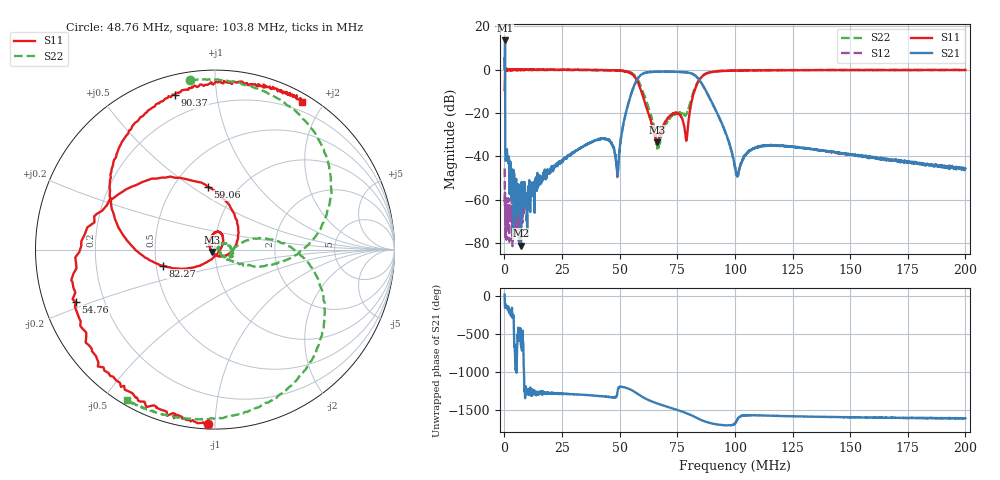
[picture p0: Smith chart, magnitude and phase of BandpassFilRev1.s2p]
! 19-Feb-26 1:12:34 PM
! E:\VNA_MEASUREMENTS\RECBLOCK\BANDPASSFILREV1.S2P
! CHANNEL.1
! TR.MEASUREMENT
! CORRECTED.DATA
# GHZ S RI R 50.0
! FREQ.GHZ  S11RE  S11IM  S21RE  S21IM  S12RE  S12IM  S22RE  S22IM
!; PortSelection: Port_12
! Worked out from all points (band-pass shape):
!   2000 points, 50 kHz to 200 MHz, reference 50 ohm
!   highest |S21| = 13.52 dB at 250 kHz (marker M1); lowest = -81.1 dB at 7.152 MHz (marker M2)
!   |S21| within 3 dB of the highest: 227.7 kHz to 255.9 kHz (28.13 kHz wide, 11.6 % of centre)
!   lowest |S11| = -33.5 dB at 66.17 MHz (marker M3), VSWR 1.04, Z = 48.4 - j1.31 ohm
!   |S11| at or under -10 dB: 59.35 MHz to 82.34 MHz (22.99 MHz wide, 32.5 % of centre)
!   |S22| runs from -36.4 to 0.1 dB; largest |S21 - S12| = 4.7
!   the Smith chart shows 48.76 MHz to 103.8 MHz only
!   S11 on the Smith chart (normalised r, x): 48.76 MHz: 0.03, -0.96; 54.76 MHz: 0.10, -0.18; 59.06 MHz: 0.73, +0.58; 82.27 MHz: 0.54, -0.11; 90.37 MHz: 0.09, +0.77; 103.8 MHz: 0.09, +1.74
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5e-05  0.1792 0.2916  1.703 0.6553  -0.000763 -0.00523  -0.9739 -0.0128
0.00025005  0.8881 -0.0539  -4.226 -2.149  -0.000199 0.00145  -0.9957 0.00473
0.001150275  0.9427 -0.1012  -0.00782 -0.00799  0.000465 0.00059  -0.994 0.017
0.001350325  0.9633 0.00452  -0.00811 -0.000543  0.000272 0.000413  -0.9986 0.0201
0.007151776  1.01 -0.0942  2.79e-05 8.36e-05  -0.00066 0.00027  -0.9882 0.1151
0.03345835  0.7766 -0.6308  -0.0122 0.0109  -0.012 0.0106  -0.7754 0.5994
0.04466116  0.3251 -0.9239  -0.00917 0.0221  -0.00895 0.0229  -0.4144 0.8758
0.04876218  -0.0387 -0.9724  -0.00302 0.00396  -0.00305 0.00304  -0.1395 0.9446
0.05476368  -0.7758 -0.2923  -0.2285 -0.1114  -0.2277 -0.1106  0.5254 0.6894
0.05906476  -0.0383 0.3499  -0.429 0.617  -0.4247 0.6185  0.4274 -0.043
0.06196548  0.1155 0.0248  0.2046 0.8423  0.2085 0.8436  0.1423 -0.079
0.06616653  -0.0162 -0.0135  0.823 0.3802  0.8179 0.3786  0.0181 -0.00245
0.06676668  -0.0241 -0.000648  0.8601 0.2831  0.8599 0.2829  0.0173 0.00697
0.07596898  0.0385 0.0851  0.2721 -0.8502  0.2621 -0.8471  0.0944 -0.0415
0.07896973  0.0167 -0.0174  -0.2335 -0.8397  -0.2275 -0.8366  0.0951 -0.00293
0.08227056  -0.2921 -0.09  -0.6584 -0.3857  -0.6633 -0.3814  0.3339 0.0499
0.09037259  -0.2243 0.8626  -0.0745 0.1432  -0.0736 0.141  0.2674 -0.8668
0.100075  0.3655 0.8874  -0.00301 0.00452  -0.0026 0.00441  -0.3612 -0.8929
0.1037759  0.4835 0.8246  -0.00685 -0.00656  -0.00651 -0.0066  -0.4921 -0.8386
0.1333833  0.8442 0.4945  -0.013 -0.00716  -0.0132 -0.00696  -0.8828 -0.4495
0.1666917  0.943 0.2919  -0.0079 -0.00214  -0.00788 -0.00258  -0.9699 -0.2008
0.2  0.9709 0.1671  -0.00523 -0.000704  -0.00524 -0.000932  -0.991 -0.0408
